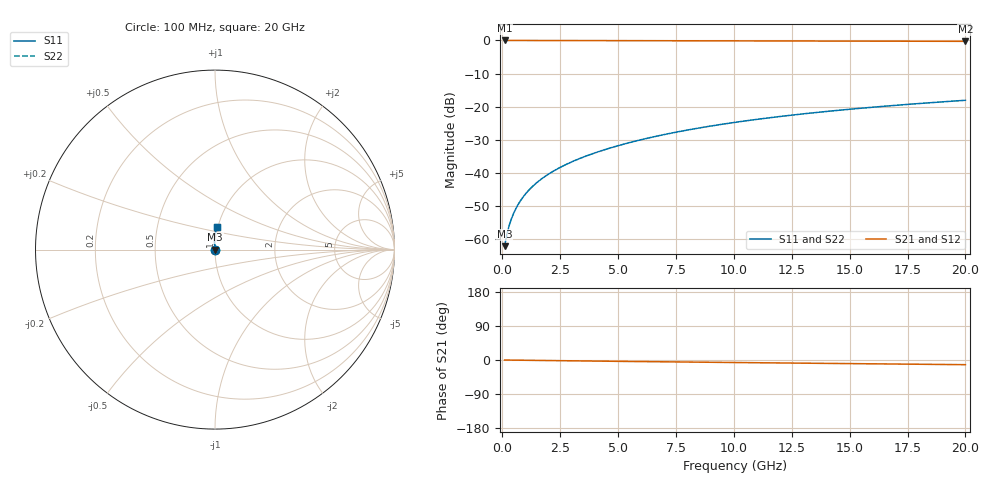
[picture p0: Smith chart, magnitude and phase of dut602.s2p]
! Touchstone file exported from HFSS 2024.1.0
!  File:  C:/UserFiles/LocalFiles/RDL_TSV_Batchsim/temp_RDL_top_602_1779779399.aedt
!  Generated:  03:12:39 PM May 26, 2026
!  Design:  RDL_top
!  Project:  temp_RDL_top_602_1779779399
!  Setup:  Setup1
!  Solution:  Sweep
! Variables:
!  dtsv = 10.80580581um
!  hbump = 3um
!  htsv = 83.26um
!  ldown = 100um
!  lrdl = 153.01um
!  p = 40
!  p1 = 54.89um
!  rhole = 1um
!  t = 450um
!  tdown = 3.915915916um
!  trdl = 4.72um
!  wdown = 15.38538539um
!  wrdl = 29.22um
# GHz S MA R 50.000000
! Terminal data exported
! Port[1] = Box2_T1
! Port[2] = Box2_T2
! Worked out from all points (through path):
!   200 points, 100 MHz to 20 GHz, reference 50 ohm
!   highest |S21| = -0.01 dB at 100 MHz (marker M1); lowest = -0.3 dB at 20 GHz (marker M2)
!   group delay of S21, straight-line fit = 1.69 ps
!   lowest |S11| = -62.0 dB at 100 MHz (marker M3), VSWR 1.00, Z = 50.1 + j0.0537 ohm
!   |S11| at or under -10 dB: start of sweep to end of sweep
!   |S22| runs from -62.0 to -18.0 dB; largest |S21 - S12| = 2.3e-15
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0.1  0.0007916 42.6  0.9994 -0.1  0.9994 -0.1  0.0007916 42.6
! Gamma 0 0 0 0
! Port Impedance 50 0 50 0
0.2  0.001203 58.8  0.9994 -0.2  0.9994 -0.2  0.001203 58.8
0.3  0.001634 66.7  0.9993 -0.2  0.9993 -0.2  0.001634 66.7
0.4  0.002073 71.6  0.9993 -0.3  0.9993 -0.3  0.002073 71.6
0.5  0.002522 75.0  0.9992 -0.4  0.9992 -0.4  0.002522 75.0
0.6  0.002977 77.5  0.9992 -0.5  0.9992 -0.5  0.002977 77.5
0.8  0.003902 81.0  0.9991 -0.6  0.9991 -0.6  0.003902 81.0
1.1  0.005314 84.2  0.9989 -0.8  0.9989 -0.8  0.005314 84.2
1.5  0.007232 86.8  0.9986 -1.1  0.9986 -1.1  0.007232 86.8
1.8  0.008694 88.2  0.9983 -1.3  0.9983 -1.3  0.008694 88.2
2.1  0.01018 89.3  0.9979 -1.5  0.9979 -1.5  0.01018 89.3
2.7  0.01322 91.0  0.9971 -2.0  0.9971 -2.0  0.01322 91.0
3.5  0.01744 92.6  0.9959 -2.5  0.9959 -2.5  0.01744 92.6
4.2  0.0213 93.5  0.9946 -3.0  0.9946 -3.0  0.0213 93.5
5  0.0259 94.2  0.9932 -3.5  0.9932 -3.5  0.0259 94.2
6.8  0.03691 94.5  0.9897 -4.7  0.9897 -4.7  0.03691 94.5
8.4  0.04725 94.0  0.9867 -5.7  0.9867 -5.7  0.04725 94.0
10.1  0.05858 93.0  0.9838 -6.7  0.9838 -6.7  0.05858 93.0
11.7  0.0694 91.8  0.9813 -7.6  0.9813 -7.6  0.0694 91.8
13.4  0.08094 90.4  0.9787 -8.6  0.9787 -8.6  0.08094 90.4
16.7  0.1032 87.6  0.9741 -10.5  0.9741 -10.5  0.1032 87.6
20  0.1252 84.9  0.9697 -12.4  0.9697 -12.4  0.1252 84.9
